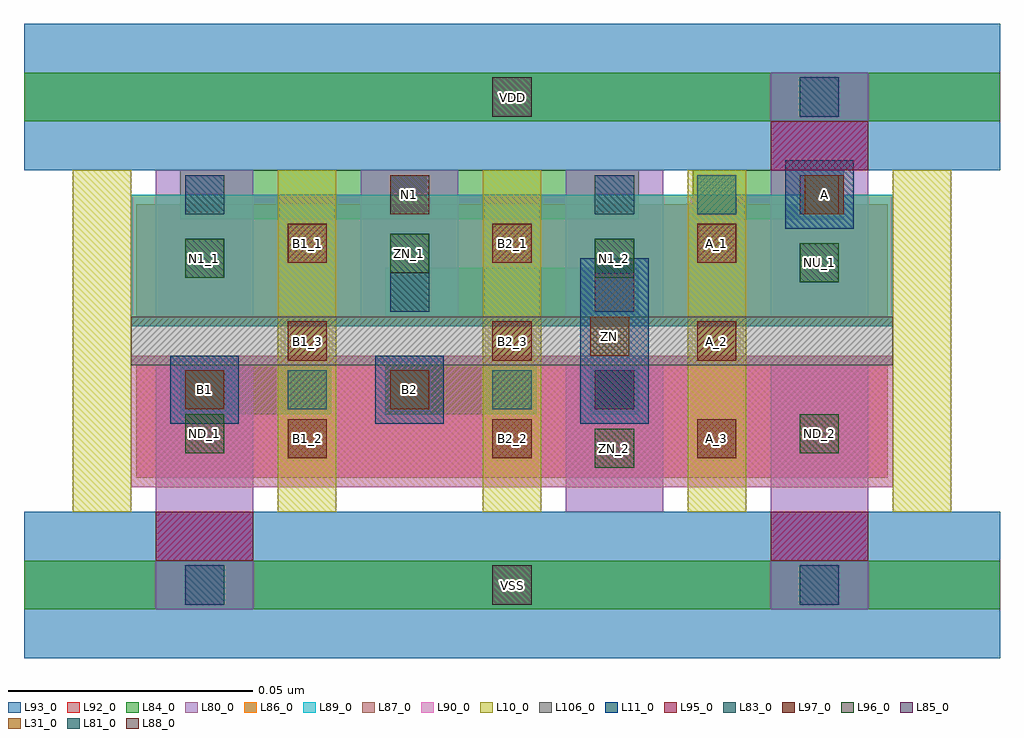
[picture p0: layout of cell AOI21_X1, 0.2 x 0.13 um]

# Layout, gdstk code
import gdstk
lib = gdstk.Library(unit=1e-6, precision=1e-09)
def R(c, l, rs):  # rectangles x0, y0, x1, y1
    for r in rs: c.add(gdstk.rectangle(r[:2], r[2:], *l))
def A(c, l, x, y, w, h, nx, ny, dx, dy):  # array of equal rectangles
    R(c, l, [(x+i*dx, y+j*dy, x+i*dx+w, y+j*dy+h) for i in range(nx) for j in range(ny)])
L10_0 = (10, 0)
L11_0 = (11, 0)
L31_0 = (31, 0)
L80_0 = (80, 0)
L81_0 = (81, 0)
L83_0 = (83, 0)
L84_0 = (84, 0)
L85_0 = (85, 0)
L86_0 = (86, 0)
L87_0 = (87, 0)
L88_0 = (88, 0)
L89_0 = (89, 0)
L90_0 = (90, 0)
L92_0 = (92, 0)
L93_0 = (93, 0)
L95_0 = (95, 0)
L96_0 = (96, 0)
L97_0 = (97, 0)
L106_0 = (106, 0)

aoi21_x1 = lib.new_cell('AOI21_X1')
A(aoi21_x1, L10_0, -0.027, 0.015, 0.012, 0.07, 5, 1, 0.042, 0)
R(aoi21_x1, L11_0, [(-0.007,0.033,0.007,0.047), (0.035,0.033,0.049,0.047), (0.077,0.033,0.091,0.067), (0.119,0.073,0.133,0.087)])
R(aoi21_x1, L31_0, [(-0.004,0.036,0.004,0.044), (0.038,0.036,0.046,0.044), (0.079,0.047,0.087,0.055), (0.123,0.076,0.131,0.084)])
A(aoi21_x1, L80_0, -0.01, 0.055, 0.02, 0.03, 4, 1, 0.042, 0)
R(aoi21_x1, L80_0, [(-0.01,-0.005,0.01,0.025), (0.116,-0.005,0.136,0.025), (-0.01,0.015,0.01,0.045), (0.074,0.015,0.094,0.045), (0.116,0.015,0.136,0.045), (0.116,0.075,0.136,0.105)])
R(aoi21_x1, L81_0, [(0.017,0.036,0.025,0.044), (0.059,0.036,0.067,0.044), (0.101,0.076,0.109,0.084)])
R(aoi21_x1, L83_0, [(-0.004,-0.004,0.004,0.004), (0.122,-0.004,0.13,0.004), (0.08,0.036,0.088,0.044), (0.038,0.056,0.046,0.064), (-0.004,0.076,0.004,0.084), (-0.004,0.076,0.004,0.084), (-0.004,0.076,0.004,0.084), (0.08,0.076,0.088,0.084), (0.122,0.096,0.13,0.104)])
A(aoi21_x1, L84_0, -0.005, 0.075, 0.031, 0.01, 4, 1, 0.021, 0)
R(aoi21_x1, L84_0, [(-0.037,-0.005,0.163,0.005), (-0.005,0.035,0.026,0.045), (0.037,0.035,0.068,0.045), (0.079,0.035,0.089,0.045), (0.037,0.055,0.068,0.065), (0.058,0.055,0.089,0.065), (0.1,0.075,0.131,0.085), (-0.037,0.095,0.163,0.105)])
A(aoi21_x1, L85_0, -0.004, 0.036, 0.008, 0.008, 3, 1, 0.042, 0)
R(aoi21_x1, L85_0, [(0.08,0.056,0.088,0.064), (0.122,0.076,0.13,0.084)])
R(aoi21_x1, L86_0, [(-0.015,0.053,0.141,0.08)])
R(aoi21_x1, L87_0, [(-0.015,0.02,0.141,0.047)])
R(aoi21_x1, L88_0, [(0.059,-0.004,0.067,0.004), (0.038,0.076,0.046,0.084), (0.059,0.096,0.067,0.104)])
R(aoi21_x1, L89_0, [(-0.015,0.053,0.141,0.08)])
R(aoi21_x1, L90_0, [(-0.015,0.02,0.141,0.047)])
R(aoi21_x1, L92_0, [(-0.014,0.022,0.14,0.045), (-0.014,0.055,0.14,0.078)])
R(aoi21_x1, L93_0, [(-0.037,-0.015,0.163,0.015), (-0.037,0.085,0.163,0.115)])
R(aoi21_x1, L95_0, [(-0.01,0.005,0.01,0.015), (0.116,0.005,0.136,0.015), (0.116,0.085,0.136,0.095)])
R(aoi21_x1, L96_0, [(0.08,0.024,0.088,0.032), (-0.004,0.027,0.004,0.035), (0.122,0.027,0.13,0.035), (0.122,0.062,0.13,0.07), (-0.004,0.063,0.004,0.071), (0.08,0.063,0.088,0.071), (0.038,0.064,0.046,0.072)])
A(aoi21_x1, L97_0, 0.017, 0.026, 0.008, 0.008, 3, 3, 0.042, 0.02)
R(aoi21_x1, L106_0, [(-0.015,0.045,0.141,0.055)])
aoi21_x1.add(gdstk.Label('B2', (0.042,0.04), layer=31, texttype=0))
aoi21_x1.add(gdstk.Label('B1', (0,0.04), layer=31, texttype=0))
aoi21_x1.add(gdstk.Label('A', (0.127,0.08), layer=31, texttype=0))
aoi21_x1.add(gdstk.Label('ZN', (0.083,0.051), layer=31, texttype=0))
aoi21_x1.add(gdstk.Label('ZN_2', (0.084,0.028), layer=96, texttype=0))
aoi21_x1.add(gdstk.Label('ZN_1', (0.042,0.068), layer=96, texttype=0))
aoi21_x1.add(gdstk.Label('ND_1', (0,0.031), layer=96, texttype=0))
aoi21_x1.add(gdstk.Label('N1_1', (0,0.067), layer=96, texttype=0))
aoi21_x1.add(gdstk.Label('N1_2', (0.084,0.067), layer=96, texttype=0))
aoi21_x1.add(gdstk.Label('ND_2', (0.126,0.031), layer=96, texttype=0))
aoi21_x1.add(gdstk.Label('NU_1', (0.126,0.066), layer=96, texttype=0))
aoi21_x1.add(gdstk.Label('VDD', (0.063,0.1), layer=88, texttype=0))
aoi21_x1.add(gdstk.Label('VSS', (0.063,0), layer=88, texttype=0))
aoi21_x1.add(gdstk.Label('N1', (0.042,0.08), layer=88, texttype=0))
aoi21_x1.add(gdstk.Label('B2_1', (0.063,0.07), layer=97, texttype=0))
aoi21_x1.add(gdstk.Label('B2_3', (0.063,0.05), layer=97, texttype=0))
aoi21_x1.add(gdstk.Label('B2_2', (0.063,0.03), layer=97, texttype=0))
aoi21_x1.add(gdstk.Label('B1_1', (0.021,0.07), layer=97, texttype=0))
aoi21_x1.add(gdstk.Label('B1_3', (0.021,0.05), layer=97, texttype=0))
aoi21_x1.add(gdstk.Label('B1_2', (0.021,0.03), layer=97, texttype=0))
aoi21_x1.add(gdstk.Label('A_3', (0.105,0.03), layer=97, texttype=0))
aoi21_x1.add(gdstk.Label('A_2', (0.105,0.05), layer=97, texttype=0))
aoi21_x1.add(gdstk.Label('A_1', (0.105,0.07), layer=97, texttype=0))

lib.write_gds('AOI21_X1.gds')
